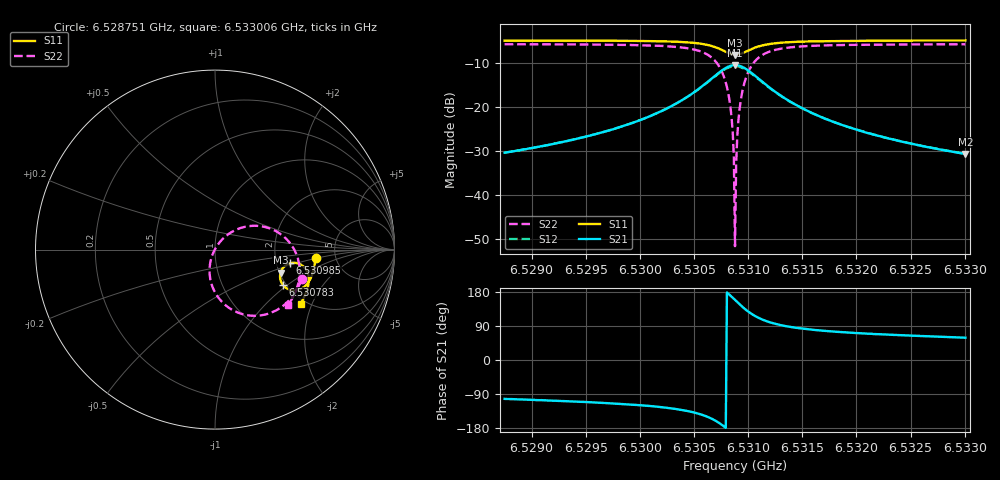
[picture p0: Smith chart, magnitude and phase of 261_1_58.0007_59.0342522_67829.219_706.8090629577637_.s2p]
#  HZ  S  RI  R  50.00
! Rohde & Schwarz Vector Network Analyzer
! Rohde-Schwarz,ZNB20-2Port,1311601062101988,3.16
! Created: UTC 3/21/2024, 1:01:58 AM
! freq[Hz]  re:S11  im:S11  re:S21  im:S21  re:S12  im:S12  re:S22  im:S22
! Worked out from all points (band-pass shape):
!   401 points, 6.528751 GHz to 6.533006 GHz, reference 50 ohm
!   highest |S21| = -10.55 dB at 6.530879 GHz (marker M1); lowest = -30.7 dB at 6.533006 GHz (marker M2)
!   |S21| within 3 dB of the highest: 6.530666 GHz to 6.531092 GHz (425.8 kHz wide, 0.00652 % of centre)
!   lowest |S11| = -8.2 dB at 6.530879 GHz (marker M3), VSWR 2.26, Z = 101 - j30.7 ohm
!   |S11| at or under -10 dB: nowhere
!   |S22| runs from -51.6 to -5.8 dB; largest |S21 - S12| = 0.012
!   S11 on the Smith chart (normalised r, x): 6.528751 GHz: 3.50, -0.48; 6.530783 GHz: 1.92, -0.92; 6.530985 GHz: 2.38, -0.44; 6.533006 GHz: 1.87, -1.65
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6.5287513e9  0.5601 -0.0466  -0.00657 -0.0295  -0.00718 -0.0294  0.4839 -0.1643
6.529464e9  0.5511 -0.1057  -0.0157 -0.0419  -0.0167 -0.0415  0.4535 -0.2287
6.5301767e9  0.5241 -0.1758  -0.0481 -0.072  -0.0502 -0.0707  0.3738 -0.3179
6.5306022e9  0.4557 -0.2262  -0.1526 -0.0975  -0.155 -0.0913  0.1734 -0.3643
6.5307085e9  0.412 -0.222  -0.2201 -0.0722  -0.2195 -0.0628  0.0597 -0.3104
6.530783e9  0.3777 -0.196  -0.2699 -0.0156  -0.2645 -0.00584  -0.0143 -0.2068
6.5308149e9  0.367 -0.1765  -0.2832 0.022  -0.2755 0.0304  -0.0293 -0.1424
6.5308362e9  0.3632 -0.1614  -0.2864 0.0502  -0.2774 0.0573  -0.0295 -0.0955
6.5308468e9  0.3624 -0.1533  -0.2861 0.0649  -0.2764 0.0713  -0.0263 -0.0715
6.5308575e9  0.3625 -0.1449  -0.2842 0.0797  -0.2742 0.0852  -0.0206 -0.0476
6.5308681e9  0.3635 -0.1369  -0.2808 0.0944  -0.2706 0.0989  -0.0124 -0.0241
6.5308787e9  0.3654 -0.1287  -0.2761 0.1087  -0.2657 0.1124  -0.00197 -0.00174
6.5308894e9  0.3681 -0.1208  -0.2698 0.1225  -0.2594 0.1253  0.0105 0.0197
6.5309e9  0.3717 -0.1133  -0.2624 0.1356  -0.252 0.1375  0.0252 0.0398
6.5309106e9  0.3759 -0.1064  -0.2537 0.1478  -0.2436 0.1488  0.0415 0.0582
6.5309319e9  0.3863 -0.0943  -0.2334 0.169  -0.2242 0.1685  0.0783 0.0889
6.5309851e9  0.4183 -0.0763  -0.1751 0.2  -0.1685 0.1974  0.1799 0.1294
6.5310596e9  0.46 -0.0761  -0.1022 0.2024  -0.0988 0.1995  0.302 0.119
6.5311659e9  0.4963 -0.0978  -0.0395 0.1725  -0.0377 0.1709  0.403 0.0536
6.5315914e9  0.5222 -0.1765  0.0148 0.0834  0.0159 0.0831  0.4717 -0.1333
6.5323041e9  0.5036 -0.2485  0.0172 0.0399  0.0179 0.0397  0.4425 -0.2478
6.5330062e9  0.4771 -0.3009  0.0151 0.0249  0.0155 0.0248  0.4074 -0.3077
